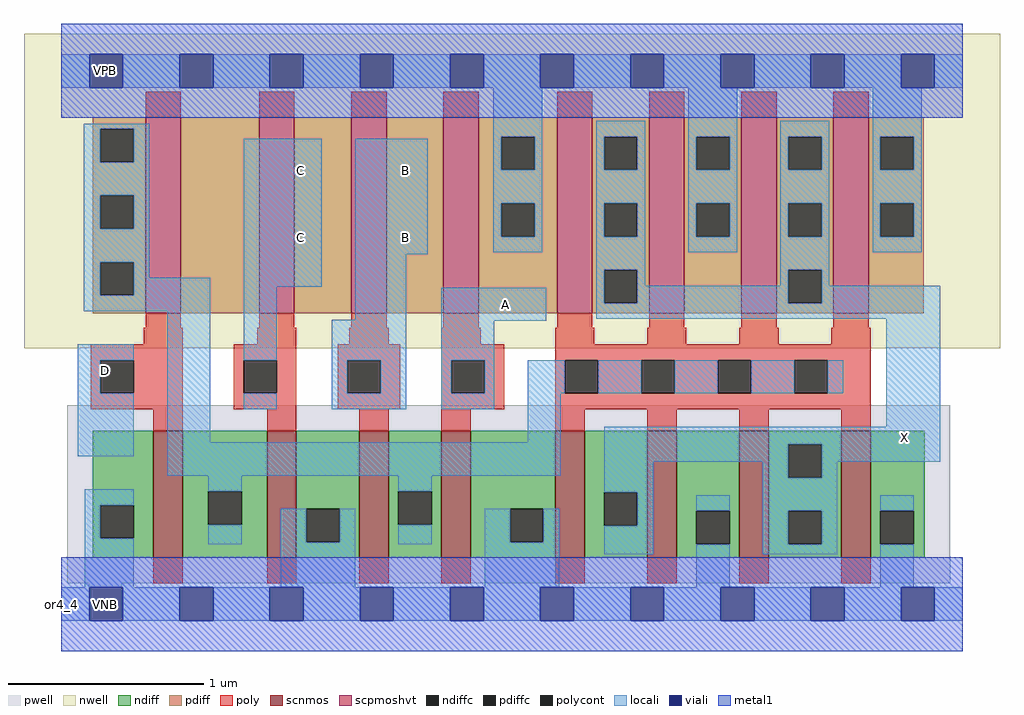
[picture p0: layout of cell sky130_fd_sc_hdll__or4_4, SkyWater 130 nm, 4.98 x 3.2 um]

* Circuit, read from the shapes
.subckt sky130_fd_sc_hdll__or4_4 A B C D VGND VNB VPB VPWR X
XM1 n1 D VGND VNB sky130_fd_pr__nfet_01v8 w=0.65 l=0.15
XM2 VGND C n1 VNB sky130_fd_pr__nfet_01v8 w=0.65 l=0.15
XM3 n1 B VGND VNB sky130_fd_pr__nfet_01v8 w=0.65 l=0.15
XM4 VGND A n1 VNB sky130_fd_pr__nfet_01v8 w=0.65 l=0.15
XM5 X n1 VGND VNB sky130_fd_pr__nfet_01v8 w=0.65 l=0.15 m=4
XM6 n2 D n1 VPB sky130_fd_pr__pfet_01v8_hvt w=1 l=0.18
XM7 n3 C n2 VPB sky130_fd_pr__pfet_01v8_hvt w=1 l=0.18
XM8 n4 B n3 VPB sky130_fd_pr__pfet_01v8_hvt w=1 l=0.18
XM9 VPWR A n4 VPB sky130_fd_pr__pfet_01v8_hvt w=1 l=0.18
XM10 X n1 VPWR VPB sky130_fd_pr__pfet_01v8_hvt w=1 l=0.18 m=4
.ends

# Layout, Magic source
magic
tech sky130A
magscale 1 2
<< nwell >>
rect -38 261 958 582
<< pwell >>
rect 6 21 907 203
rect 28 -17 62 21
<< scnmos >>
rect 94 47 124 177
rect 210 47 240 177
rect 304 47 334 177
rect 388 47 418 177
rect 504 47 534 177
rect 598 47 628 177
rect 692 47 722 177
rect 796 47 826 177
<< scpmoshvt >>
rect 86 297 122 497
rect 202 297 238 497
rect 296 297 332 497
rect 390 297 426 497
rect 506 297 542 497
rect 600 297 636 497
rect 694 297 730 497
rect 788 297 824 497
<< ndiff >>
rect 32 101 94 177
rect 32 67 40 101
rect 74 67 94 101
rect 32 47 94 67
rect 124 115 210 177
rect 124 81 150 115
rect 184 81 210 115
rect 124 47 210 81
rect 240 97 304 177
rect 240 63 250 97
rect 284 63 304 97
rect 240 47 304 63
rect 334 115 388 177
rect 334 81 344 115
rect 378 81 388 115
rect 334 47 388 81
rect 418 97 504 177
rect 418 63 458 97
rect 492 63 504 97
rect 418 47 504 63
rect 534 114 598 177
rect 534 80 554 114
rect 588 80 598 114
rect 534 47 598 80
rect 628 95 692 177
rect 628 61 648 95
rect 682 61 692 95
rect 628 47 692 61
rect 722 163 796 177
rect 722 129 742 163
rect 776 129 796 163
rect 722 95 796 129
rect 722 61 742 95
rect 776 61 796 95
rect 722 47 796 61
rect 826 95 881 177
rect 826 61 836 95
rect 870 61 881 95
rect 826 47 881 61
<< pdiff >>
rect 32 485 86 497
rect 32 451 40 485
rect 74 451 86 485
rect 32 417 86 451
rect 32 383 40 417
rect 74 383 86 417
rect 32 349 86 383
rect 32 315 40 349
rect 74 315 86 349
rect 32 297 86 315
rect 122 297 202 497
rect 238 297 296 497
rect 332 297 390 497
rect 426 477 506 497
rect 426 443 449 477
rect 483 443 506 477
rect 426 409 506 443
rect 426 375 449 409
rect 483 375 506 409
rect 426 297 506 375
rect 542 477 600 497
rect 542 443 554 477
rect 588 443 600 477
rect 542 409 600 443
rect 542 375 554 409
rect 588 375 600 409
rect 542 341 600 375
rect 542 307 554 341
rect 588 307 600 341
rect 542 297 600 307
rect 636 477 694 497
rect 636 443 648 477
rect 682 443 694 477
rect 636 409 694 443
rect 636 375 648 409
rect 682 375 694 409
rect 636 297 694 375
rect 730 477 788 497
rect 730 443 742 477
rect 776 443 788 477
rect 730 409 788 443
rect 730 375 742 409
rect 776 375 788 409
rect 730 341 788 375
rect 730 307 742 341
rect 776 307 788 341
rect 730 297 788 307
rect 824 477 880 497
rect 824 443 836 477
rect 870 443 880 477
rect 824 409 880 443
rect 824 375 836 409
rect 870 375 880 409
rect 824 297 880 375
<< ndiffc >>
rect 40 67 74 101
rect 150 81 184 115
rect 250 63 284 97
rect 344 81 378 115
rect 458 63 492 97
rect 554 80 588 114
rect 648 61 682 95
rect 742 129 776 163
rect 742 61 776 95
rect 836 61 870 95
<< pdiffc >>
rect 40 451 74 485
rect 40 383 74 417
rect 40 315 74 349
rect 449 443 483 477
rect 449 375 483 409
rect 554 443 588 477
rect 554 375 588 409
rect 554 307 588 341
rect 648 443 682 477
rect 648 375 682 409
rect 742 443 776 477
rect 742 375 776 409
rect 742 307 776 341
rect 836 443 870 477
rect 836 375 870 409
<< poly >>
rect 86 497 122 523
rect 202 497 238 523
rect 296 497 332 523
rect 390 497 426 523
rect 506 497 542 523
rect 600 497 636 523
rect 694 497 730 523
rect 788 497 824 523
rect 86 282 122 297
rect 202 282 238 297
rect 296 282 332 297
rect 390 282 426 297
rect 506 282 542 297
rect 600 282 636 297
rect 694 282 730 297
rect 788 282 824 297
rect 84 265 124 282
rect 200 265 240 282
rect 294 265 334 282
rect 388 265 428 282
rect 504 265 544 282
rect 598 265 638 282
rect 692 265 732 282
rect 786 265 826 282
rect 30 249 124 265
rect 30 215 40 249
rect 74 215 124 249
rect 30 199 124 215
rect 176 249 240 265
rect 176 215 186 249
rect 220 215 240 249
rect 176 199 240 215
rect 282 249 346 265
rect 282 215 292 249
rect 326 215 346 249
rect 282 199 346 215
rect 388 249 452 265
rect 388 215 398 249
rect 432 215 452 249
rect 388 199 452 215
rect 504 249 826 265
rect 504 215 514 249
rect 548 215 592 249
rect 626 215 670 249
rect 704 215 748 249
rect 782 215 826 249
rect 504 199 826 215
rect 94 177 124 199
rect 210 177 240 199
rect 304 177 334 199
rect 388 177 418 199
rect 504 177 534 199
rect 598 177 628 199
rect 692 177 722 199
rect 796 177 826 199
rect 94 21 124 47
rect 210 21 240 47
rect 304 21 334 47
rect 388 21 418 47
rect 504 21 534 47
rect 598 21 628 47
rect 692 21 722 47
rect 796 21 826 47
<< polycont >>
rect 40 215 74 249
rect 186 215 220 249
rect 292 215 326 249
rect 398 215 432 249
rect 514 215 548 249
rect 592 215 626 249
rect 670 215 704 249
rect 748 215 782 249
<< locali >>
rect 0 527 29 561
rect 63 527 121 561
rect 155 527 213 561
rect 247 527 305 561
rect 339 527 397 561
rect 431 527 489 561
rect 523 527 581 561
rect 615 527 673 561
rect 707 527 765 561
rect 799 527 857 561
rect 891 527 920 561
rect 23 485 90 490
rect 23 451 40 485
rect 74 451 90 485
rect 441 477 491 527
rect 23 417 90 451
rect 23 383 40 417
rect 74 383 90 417
rect 23 349 90 383
rect 23 315 40 349
rect 74 333 90 349
rect 74 315 152 333
rect 23 299 152 315
rect 17 249 74 265
rect 17 215 40 249
rect 17 151 74 215
rect 108 165 152 299
rect 186 324 266 475
rect 300 357 374 475
rect 441 443 449 477
rect 483 443 491 477
rect 441 409 491 443
rect 441 375 449 409
rect 483 375 491 409
rect 441 359 491 375
rect 546 477 596 493
rect 546 443 554 477
rect 588 443 596 477
rect 546 409 596 443
rect 546 375 554 409
rect 588 375 596 409
rect 186 249 220 324
rect 300 290 352 357
rect 546 341 596 375
rect 640 477 690 527
rect 640 443 648 477
rect 682 443 690 477
rect 640 409 690 443
rect 640 375 648 409
rect 682 375 690 409
rect 640 359 690 375
rect 734 477 784 493
rect 734 443 742 477
rect 776 443 784 477
rect 734 409 784 443
rect 734 375 742 409
rect 776 375 784 409
rect 186 199 220 215
rect 276 249 352 290
rect 276 215 292 249
rect 326 215 352 249
rect 276 199 352 215
rect 388 289 495 323
rect 546 307 554 341
rect 588 325 596 341
rect 734 341 784 375
rect 828 477 878 527
rect 828 443 836 477
rect 870 443 878 477
rect 828 409 878 443
rect 828 375 836 409
rect 870 375 878 409
rect 828 359 878 375
rect 734 325 742 341
rect 588 307 742 325
rect 776 325 784 341
rect 776 307 897 325
rect 546 291 897 307
rect 388 249 442 289
rect 388 215 398 249
rect 432 215 442 249
rect 388 199 442 215
rect 476 215 514 249
rect 548 215 592 249
rect 626 215 670 249
rect 704 215 748 249
rect 782 215 798 249
rect 476 165 510 215
rect 842 181 897 291
rect 108 131 510 165
rect 554 163 897 181
rect 554 145 742 163
rect 24 101 74 117
rect 24 67 40 101
rect 24 17 74 67
rect 150 115 184 131
rect 344 115 378 131
rect 150 61 184 81
rect 224 63 250 97
rect 284 63 300 97
rect 224 17 300 63
rect 554 114 604 145
rect 344 61 378 81
rect 432 63 458 97
rect 492 63 508 97
rect 432 17 508 63
rect 588 80 604 114
rect 716 129 742 145
rect 776 145 897 163
rect 776 129 792 145
rect 554 51 604 80
rect 648 95 682 111
rect 648 17 682 61
rect 716 95 792 129
rect 716 61 742 95
rect 776 61 792 95
rect 716 51 792 61
rect 836 95 870 111
rect 836 17 870 61
rect 0 -17 29 17
rect 63 -17 121 17
rect 155 -17 213 17
rect 247 -17 305 17
rect 339 -17 397 17
rect 431 -17 489 17
rect 523 -17 581 17
rect 615 -17 673 17
rect 707 -17 765 17
rect 799 -17 857 17
rect 891 -17 920 17
<< viali >>
rect 29 527 63 561
rect 121 527 155 561
rect 213 527 247 561
rect 305 527 339 561
rect 397 527 431 561
rect 489 527 523 561
rect 581 527 615 561
rect 673 527 707 561
rect 765 527 799 561
rect 857 527 891 561
rect 29 -17 63 17
rect 121 -17 155 17
rect 213 -17 247 17
rect 305 -17 339 17
rect 397 -17 431 17
rect 489 -17 523 17
rect 581 -17 615 17
rect 673 -17 707 17
rect 765 -17 799 17
rect 857 -17 891 17
<< metal1 >>
rect 0 561 920 592
rect 0 527 29 561
rect 63 527 121 561
rect 155 527 213 561
rect 247 527 305 561
rect 339 527 397 561
rect 431 527 489 561
rect 523 527 581 561
rect 615 527 673 561
rect 707 527 765 561
rect 799 527 857 561
rect 891 527 920 561
rect 0 496 920 527
rect 0 17 920 48
rect 0 -17 29 17
rect 63 -17 121 17
rect 155 -17 213 17
rect 247 -17 305 17
rect 339 -17 397 17
rect 431 -17 489 17
rect 523 -17 581 17
rect 615 -17 673 17
rect 707 -17 765 17
rect 799 -17 857 17
rect 891 -17 920 17
rect 0 -48 920 -17
<< labels >>
flabel locali s 334 425 368 459 0 FreeSans 400 0 0 0 B
port 2 nsew signal input
flabel locali s 334 357 368 391 0 FreeSans 400 0 0 0 B
port 2 nsew signal input
flabel locali s 222 357 266 391 0 FreeSans 400 0 0 0 C
port 3 nsew signal input
flabel locali s 436 289 470 323 0 FreeSans 400 0 0 0 A
port 1 nsew signal input
flabel locali s 222 425 266 459 0 FreeSans 400 0 0 0 C
port 3 nsew signal input
flabel locali s 28 221 62 255 0 FreeSans 400 0 0 0 D
port 4 nsew signal input
flabel locali s 844 153 878 187 0 FreeSans 400 0 0 0 X
port 9 nsew signal output
flabel pwell s 28 -17 62 17 0 FreeSans 200 0 0 0 VNB
port 6 nsew ground bidirectional
flabel nwell s 28 527 62 561 0 FreeSans 200 0 0 0 VPB
port 7 nsew power bidirectional
flabel metal1 s 28 527 62 561 0 FreeSans 200 0 0 0 VPWR
port 8 nsew power bidirectional
flabel metal1 s 28 -17 62 17 0 FreeSans 200 0 0 0 VGND
port 5 nsew ground bidirectional
rlabel comment s 0 0 0 0 4 or4_4
<< properties >>
string LEFsite unithd
string LEFclass CORE
string FIXED_BBOX 0 0 920 544
string GDS_FILE $PDKPATH/libs.ref/sky130_fd_sc_hdll/gds/sky130_fd_sc_hdll.gds
string LEFsymmetry X Y R90
string GDS_END 323518
string GDS_START 315856
string LEFproperties maskLayoutSubType "abstract" prCellType "standard" originalViewName "layout"
<< end >>
